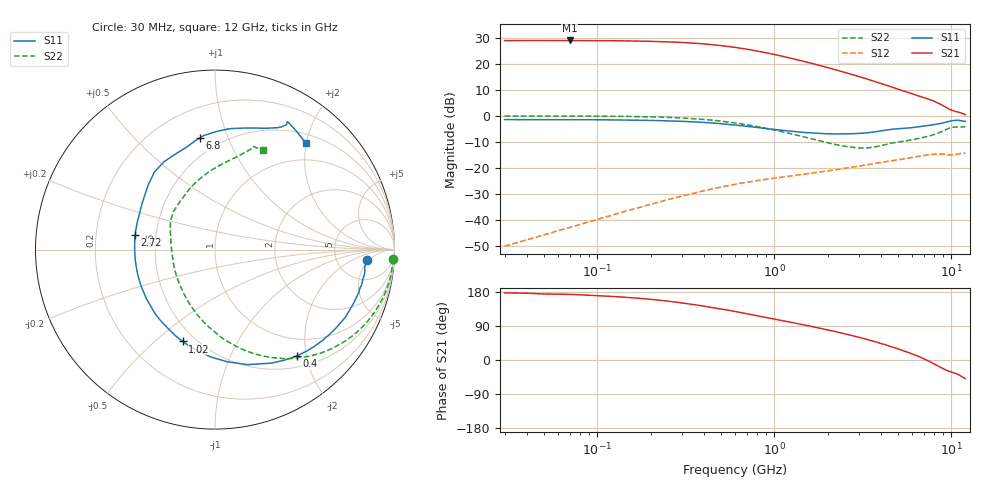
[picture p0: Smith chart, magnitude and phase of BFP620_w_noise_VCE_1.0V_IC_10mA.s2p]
! Infineon Technologies  Discrete & RF Semiconductors
! BFP620
! VCE =  1.0 V,  IC =  10 mA
! Common Emitter S-Parameters:  Nov 2015
# GHz  S  MA  R  50
!  f  S11  S21  S12  S22
! GHz  MAG  ANG  MAG  ANG  MAG  ANG  MAG  ANG
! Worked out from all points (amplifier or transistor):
!   239 points, 30 MHz to 12 GHz, reference 50 ohm
!   highest |S21| = 29.0 dB at 70 MHz (marker M1)
!   |S21| within 3 dB of that: start of sweep to 647.9 MHz
!   unconditionally stable (mu >= 1): 4.196 GHz to end of sweep
!   at 300 MHz: K = 0.14, MSG = 29.6 dB, |S12| = -30.9 dB
!   at 1.88 GHz: K = 0.73, MSG = 20.3 dB, |S12| = -21.4 dB
!   at 12 GHz: K = 1.13, MAG = 5.2 dB, |S12| = -14.5 dB
!   lowest NFmin = 0.73 dB at 450 MHz
!   S11 on the Smith chart (normalised r, x): 30 MHz: 10, -4; 400 MHz: 0.68, -1.83; 1.02 GHz: 0.43, -0.62; 2.72 GHz: 0.38, +0.08; 6.8 GHz: 0.39, +0.80; 12 GHz: 0.66, +1.99
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0.03  0.8467 -4.0  28.09 177.1  0.0031 88.3  0.9915 -3.0
0.04  0.8439 -5.6  28.24 176.2  0.0041 87.6  0.992 -4.1
0.05  0.8389 -6.6  28.19 174.2  0.0051 88.2  0.9922 -5.1
0.07  0.8438 -9.6  28.25 173.2  0.0071 85.5  0.991 -7.3
0.085  0.8402 -11.7  28.12 171.4  0.0086 84.9  0.989 -8.9
0.15  0.8289 -20.7  27.72 165.0  0.0151 79.8  0.9744 -15.9
0.2  0.8189 -27.2  27.2 160.1  0.0198 76.7  0.9567 -21.1
0.24  0.8048 -32.4  26.68 156.3  0.0235 74.0  0.9392 -25.2
0.3  0.7848 -40.2  25.89 150.7  0.0285 70.5  0.9106 -31.1
0.4  0.7478 -52.4  24.29 142.2  0.0362 64.8  0.8529 -40.3
0.5  0.7061 -63.6  22.51 134.6  0.0427 59.9  0.7924 -48.6
0.6  0.6664 -74.1  20.81 127.9  0.0482 55.7  0.7324 -56.3
0.8  0.598 -92.4  17.68 116.7  0.0566 49.5  0.6217 -69.2
1.02  0.5422 -109.3  14.96 107.3  0.0637 44.9  0.526 -80.9
1.2  0.5097 -121.5  13.18 100.7  0.0686 42.2  0.4639 -89.5
1.64  0.4672 -146.3  10.17 88.1  0.0793 37.5  0.3597 -108.7
2  0.4518 -163.4  8.494 79.4  0.0871 34.5  0.3036 -124.4
2.72  0.4518 169.8  6.312 65.0  0.1023 29.1  0.2492 -154.8
4.5  0.5486 128.0  3.676 36.1  0.1347 15.0  0.2956 147.1
6.8  0.6289 97.6  2.316 6.0  0.1701 -4.1  0.3787 109.0
9  0.7334 67.2  1.565 -23.5  0.1826 -26.9  0.5154 79.0
12  0.7798 49.6  1.048 -49.1  0.1893 -45.8  0.6179 64.2
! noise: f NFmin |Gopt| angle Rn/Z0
0.45  0.73  0.26  1  0.11
0.9  0.73  0.2  6  0.11
1.9  0.76  0.09  22  0.11
2.4  0.81  0.04  39  0.11
3.5  0.86  0.02  -174  0.12
5.5  1.18  0.09  -129  0.13
10  1.69  0.59  -52  0.71
